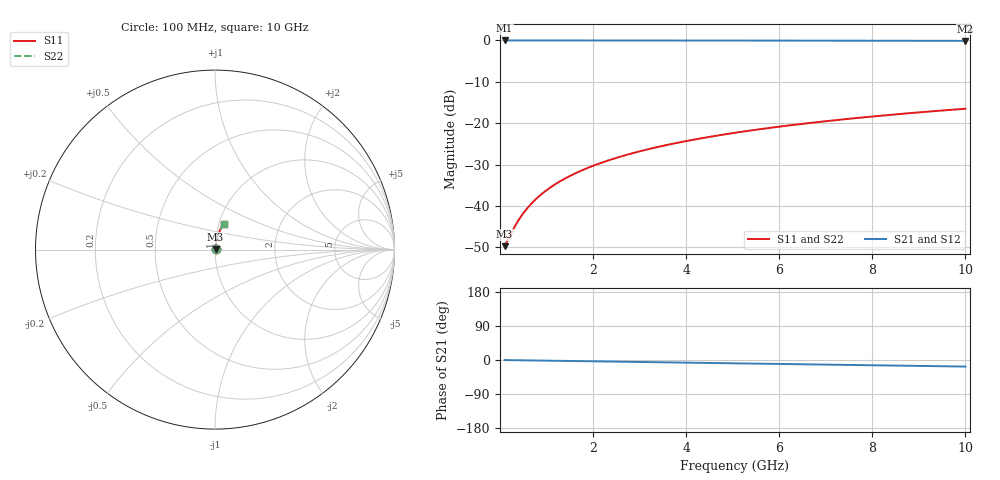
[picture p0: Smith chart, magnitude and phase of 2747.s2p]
# Hz S RI R 50.00
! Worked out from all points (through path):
!   100 points, 100 MHz to 10 GHz, reference 50 ohm
!   highest |S21| = -0.03 dB at 100 MHz (marker M1); lowest = -0.1 dB at 10 GHz (marker M2)
!   group delay of S21, straight-line fit = 4.82 ps
!   lowest |S11| = -49.7 dB at 100 MHz (marker M3), VSWR 1.01, Z = 50.3 + j0.152 ohm
!   |S11| at or under -10 dB: start of sweep to end of sweep
!   |S22| runs from -49.7 to -16.5 dB; largest |S21 - S12| = 0
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1e8  0.00291 0.00151  0.9971 -0.00302  0.9971 -0.00302  0.00291 0.00151
3e8  0.00297 0.00454  0.997 -0.00907  0.997 -0.00907  0.00297 0.00454
4e8  0.00302 0.00605  0.997 -0.0121  0.997 -0.0121  0.00302 0.00605
5e8  0.00307 0.00757  0.9969 -0.0151  0.9969 -0.0151  0.00307 0.00757
6e8  0.00313 0.00908  0.9968 -0.0181  0.9968 -0.0181  0.00313 0.00908
7e8  0.00319 0.0106  0.9967 -0.0212  0.9967 -0.0212  0.00319 0.0106
8e8  0.00327 0.0121  0.9966 -0.0242  0.9966 -0.0242  0.00327 0.0121
9e8  0.00335 0.0136  0.9965 -0.0272  0.9965 -0.0272  0.00335 0.0136
1e9  0.00345 0.0151  0.9964 -0.0302  0.9964 -0.0302  0.00345 0.0151
1.2e9  0.00366 0.0181  0.9962 -0.0363  0.9962 -0.0363  0.00366 0.0181
1.5e9  0.00404 0.0227  0.9957 -0.0453  0.9957 -0.0453  0.00404 0.0227
1.8e9  0.00451 0.0272  0.9951 -0.0544  0.9951 -0.0544  0.00451 0.0272
2.1e9  0.00506 0.0317  0.9944 -0.0634  0.9944 -0.0634  0.00506 0.0317
2.5e9  0.00591 0.0377  0.9933 -0.0755  0.9933 -0.0755  0.00591 0.0377
2.9e9  0.00691 0.0436  0.9921 -0.0875  0.9921 -0.0875  0.00691 0.0436
3.4e9  0.00836 0.0511  0.9903 -0.1025  0.9903 -0.1025  0.00836 0.0511
4.2e9  0.0111 0.0628  0.9868 -0.1264  0.9868 -0.1264  0.0111 0.0628
5.1e9  0.015 0.0759  0.982 -0.1531  0.982 -0.1531  0.015 0.0759
5.9e9  0.0189 0.0873  0.977 -0.1766  0.977 -0.1766  0.0189 0.0873
6.7e9  0.0234 0.0984  0.9713 -0.2  0.9713 -0.2  0.0234 0.0984
8.4e9  0.0348 0.1214  0.9569 -0.2488  0.9569 -0.2488  0.0348 0.1214
1e10  0.0475 0.1417  0.9407 -0.2936  0.9407 -0.2936  0.0475 0.1417
